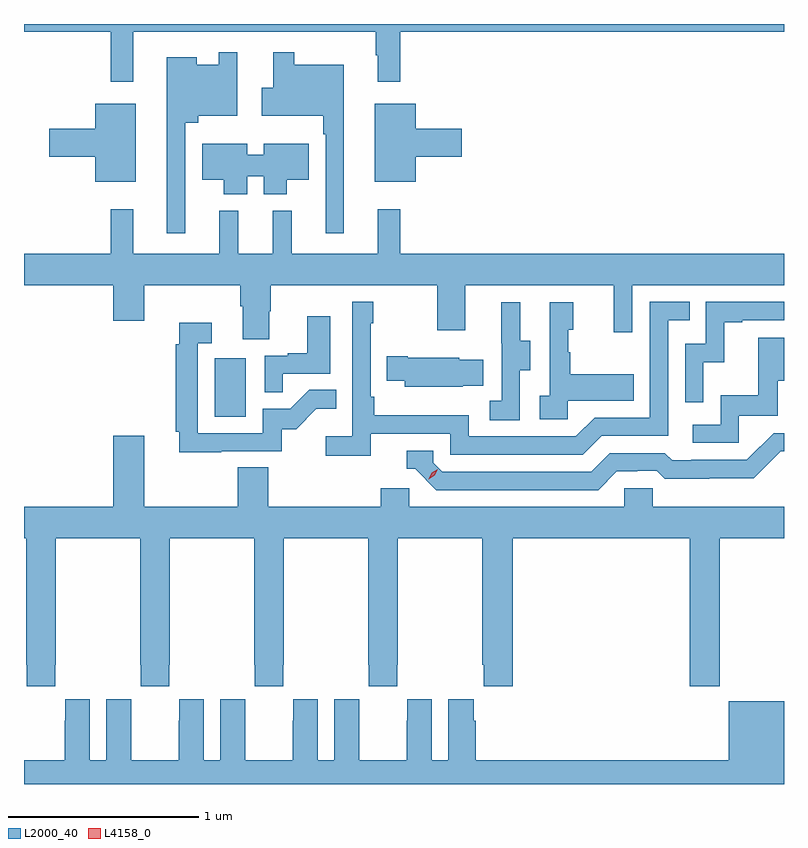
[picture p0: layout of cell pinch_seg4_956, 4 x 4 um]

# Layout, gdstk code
import gdstk
lib = gdstk.Library(unit=1e-6, precision=1e-09)
def R(c, l, rs):  # rectangles x0, y0, x1, y1
    for r in rs: c.add(gdstk.rectangle(r[:2], r[2:], *l))
def P(c, l, *ps):  # polygons
    for p in ps: c.add(gdstk.Polygon(p, *l))
L2000_40 = (2000, 40)
L4158_0 = (4158, 0)

pinch_seg4_956 = lib.new_cell('pinch_seg4_956')
R(pinch_seg4_956, L2000_40, [(860.846,778.812,861.01,779.119)])
P(pinch_seg4_956, L2000_40, [(860.416,780.836),(861.693,780.836),(861.693,780.713),(861.704,780.713),(861.704,780.573),(861.821,780.573),(861.821,780.836),(863.842,780.836),(863.842,780.878),(859.842,780.878),(859.842,780.836),(860.299,780.836),(860.299,780.573),(860.416,780.573)],
  [(861.526,780.664),(861.265,780.664),(861.265,780.73),(861.155,780.73),(861.155,780.543),(861.092,780.543),(861.092,780.395),(861.417,780.395),(861.417,780.299),(861.429,780.299),(861.429,779.778),(861.526,779.778)],
  [(860.691,780.359),(860.76,780.359),(860.76,780.395),(860.964,780.395),(860.964,780.73),(860.868,780.73),(860.868,780.664),(860.752,780.664),(860.752,780.703),(860.594,780.703),(860.594,779.778),(860.691,779.778)],
  [(861.904,780.179),(862.147,780.179),(862.147,780.326),(861.904,780.326),(861.904,780.457),(861.689,780.457),(861.689,780.047),(861.904,780.047)],
  [(860.431,780.457),(860.216,780.457),(860.216,780.326),(859.974,780.326),(859.974,780.179),(860.216,780.179),(860.216,780.047),(860.431,780.047)],
  [(861.016,780.078),(861.104,780.078),(861.104,779.981),(861.226,779.981),(861.226,780.059),(861.34,780.059),(861.34,780.247),(861.104,780.247),(861.104,780.189),(861.016,780.189),(861.016,780.247),(860.78,780.247),(860.78,780.059),(860.894,780.059),(860.894,779.981),(861.016,779.981)],
  [(861.133,779.367),(861.141,779.367),(861.141,779.504),(862.018,779.504),(862.018,779.265),(862.165,779.265),(862.165,779.504),(862.946,779.504),(862.946,779.256),(863.043,779.256),(863.043,779.504),(863.842,779.504),(863.842,779.668),(861.821,779.668),(861.821,779.902),(861.704,779.902),(861.704,779.668),(861.251,779.668),(861.251,779.896),(861.152,779.896),(861.152,779.668),(860.969,779.668),(860.969,779.896),(860.87,779.896),(860.87,779.668),(860.417,779.668),(860.417,779.902),(860.299,779.902),(860.299,779.668),(859.842,779.668),(859.842,779.504),(860.312,779.504),(860.312,779.316),(860.476,779.316),(860.476,779.504),(860.981,779.504),(860.981,779.392),(860.993,779.392),(860.993,779.218),(861.133,779.218)],
  [(861.668,778.722),(862.086,778.722),(862.086,778.611),(862.783,778.611),(862.882,778.71),(863.232,778.71),(863.232,779.319),(863.345,779.319),(863.345,779.415),(863.136,779.415),(863.136,778.806),(862.845,778.806),(862.746,778.707),(862.182,778.707),(862.182,778.819),(861.686,778.819),(861.686,778.915),(861.666,778.915),(861.666,779.303),(861.679,779.303),(861.679,779.416),(861.57,779.416),(861.57,778.708),(861.429,778.708),(861.429,778.606),(861.668,778.606)],
  [(863.418,779.099),(863.528,779.099),(863.528,779.307),(863.623,779.307),(863.623,779.319),(863.842,779.319),(863.842,779.415),(863.43,779.415),(863.43,779.196),(863.322,779.196),(863.322,778.887),(863.418,778.887)],
  [(862.452,779.056),(862.507,779.056),(862.507,779.211),(862.453,779.211),(862.453,779.413),(862.355,779.413),(862.355,779.199),(862.356,779.199),(862.356,778.895),(862.293,778.895),(862.293,778.792),(862.452,778.792)],
  [(862.704,778.895),(863.051,778.895),(863.051,779.035),(862.717,779.035),(862.717,779.15),(862.707,779.15),(862.707,779.268),(862.732,779.268),(862.732,779.413),(862.608,779.413),(862.608,778.922),(862.557,778.922),(862.557,778.797),(862.704,778.797)],
  [(861.203,779.037),(861.454,779.037),(861.454,779.341),(861.332,779.341),(861.332,779.146),(861.229,779.146),(861.229,779.133),(861.108,779.133),(861.108,778.939),(861.203,778.939)],
  [(860.879,778.629),(861.198,778.629),(861.198,778.746),(861.274,778.746),(861.381,778.853),(861.485,778.853),(861.485,778.952),(861.342,778.952),(861.244,778.854),(861.099,778.854),(861.099,778.725),(860.757,778.725),(860.757,779.199),(860.83,779.199),(860.83,779.305),(860.66,779.305),(860.66,779.192),(860.641,779.192),(860.641,778.732),(860.66,778.732),(860.66,778.624),(860.879,778.624)],
  [(863.604,778.815),(863.809,778.815),(863.809,779.001),(863.842,779.001),(863.842,779.227),(863.707,779.227),(863.707,778.924),(863.508,778.924),(863.508,778.77),(863.361,778.77),(863.361,778.674),(863.604,778.674)],
  [(862.151,778.973),(862.259,778.973),(862.259,779.11),(862.134,779.11),(862.134,779.122),(861.862,779.122),(861.862,779.13),(861.751,779.13),(861.751,779),(861.845,779),(861.845,778.97),(862.151,778.97)],
  [(862.963,778.524),(863.07,778.524),(863.07,778.527),(863.173,778.527),(863.215,778.485),(863.448,778.485),(863.448,778.487),(863.684,778.487),(863.826,778.629),(863.842,778.629),(863.842,778.725),(863.787,778.725),(863.646,778.584),(863.353,778.584),(863.353,778.581),(863.254,778.581),(863.215,778.62),(862.926,778.62),(862.827,778.521),(862.044,778.521),(861.996,778.569),(861.996,778.632),(861.857,778.632),(861.857,778.536),(861.9,778.536),(862.011,778.425),(862.864,778.425)],
  [(860.007,777.505),(860.01,777.505),(860.01,778.172),(860.455,778.172),(860.455,777.505),(860.457,777.505),(860.457,777.393),(860.607,777.393),(860.607,777.505),(860.61,777.505),(860.61,778.172),(861.055,778.172),(861.055,777.505),(861.057,777.505),(861.057,777.393),(861.207,777.393),(861.207,777.505),(861.21,777.505),(861.21,778.172),(861.655,778.172),(861.655,777.505),(861.657,777.505),(861.657,777.393),(861.807,777.393),(861.807,777.505),(861.81,777.505),(861.81,778.172),(862.255,778.172),(862.255,777.505),(862.261,777.505),(862.261,777.393),(862.415,777.393),(862.415,778.172),(863.345,778.172),(863.345,777.393),(863.505,777.393),(863.505,778.172),(863.842,778.172),(863.842,778.336),(863.151,778.336),(863.151,778.434),(863.001,778.434),(863.001,778.336),(861.87,778.336),(861.87,778.434),(861.719,778.434),(861.719,778.336),(861.128,778.336),(861.128,778.544),(860.968,778.544),(860.968,778.336),(860.476,778.336),(860.476,778.711),(860.312,778.711),(860.312,778.336),(859.842,778.336),(859.842,778.172),(859.855,778.172),(859.855,777.505),(859.857,777.505),(859.857,777.393),(860.007,777.393)],
  [(863.842,777.313),(863.552,777.313),(863.552,777.004),(862.22,777.004),(862.22,777.212),(862.21,777.212),(862.21,777.325),(862.076,777.325),(862.076,777.004),(861.988,777.004),(861.988,777.325),(861.858,777.325),(861.858,777.212),(861.857,777.212),(861.857,777.004),(861.607,777.004),(861.607,777.212),(861.606,777.212),(861.606,777.325),(861.476,777.325),(861.476,777.004),(861.388,777.004),(861.388,777.325),(861.258,777.325),(861.258,777.212),(861.257,777.212),(861.257,777.004),(861.007,777.004),(861.007,777.212),(861.006,777.212),(861.006,777.325),(860.876,777.325),(860.876,777.004),(860.788,777.004),(860.788,777.325),(860.658,777.325),(860.658,777.212),(860.657,777.212),(860.657,777.004),(860.407,777.004),(860.407,777.212),(860.406,777.212),(860.406,777.325),(860.276,777.325),(860.276,777.004),(860.188,777.004),(860.188,777.325),(860.058,777.325),(860.058,777.212),(860.057,777.212),(860.057,777.004),(859.842,777.004),(859.842,776.878),(863.842,776.878)])
P(pinch_seg4_956, L4158_0, [(861.973,778.483),(861.973,778.483),(861.989,778.516),(862.02,778.535),(862.02,778.535),(862.02,778.535),(862.004,778.502),(861.973,778.483)])

lib.write_gds('pinch_seg4_956.gds')
